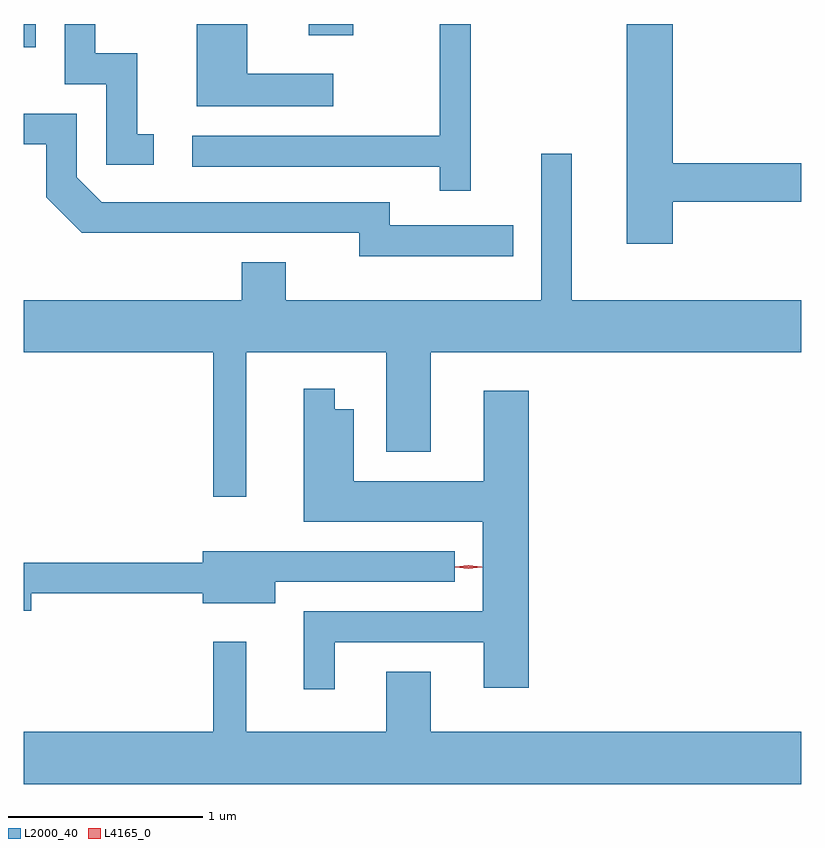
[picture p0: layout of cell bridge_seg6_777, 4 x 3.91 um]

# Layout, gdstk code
import gdstk
lib = gdstk.Library(unit=1e-6, precision=1e-09)
def R(c, l, rs):  # rectangles x0, y0, x1, y1
    for r in rs: c.add(gdstk.rectangle(r[:2], r[2:], *l))
def P(c, l, *ps):  # polygons
    for p in ps: c.add(gdstk.Polygon(p, *l))
L2000_40 = (2000, 40)
L4165_0 = (4165, 0)

bridge_seg6_777 = lib.new_cell('bridge_seg6_777')
R(bridge_seg6_777, L2000_40, [(522.955,1569.366,523.018,1569.485), (524.421,1569.426,524.649,1569.485)])
P(bridge_seg6_777, L2000_40, [(525.254,1569.485),(525.096,1569.485),(525.096,1568.909),(523.823,1568.909),(523.823,1568.751),(525.096,1568.751),(525.096,1568.628),(525.254,1568.628)],
  [(524.548,1569.229),(524.104,1569.229),(524.104,1569.485),(523.846,1569.485),(523.846,1569.061),(524.548,1569.061)],
  [(526.294,1568.571),(526.955,1568.571),(526.955,1568.769),(526.294,1568.769),(526.294,1569.485),(526.056,1569.485),(526.056,1568.356),(526.294,1568.356)],
  [(523.623,1568.919),(523.539,1568.919),(523.539,1569.334),(523.324,1569.334),(523.324,1569.485),(523.166,1569.485),(523.166,1569.176),(523.381,1569.176),(523.381,1568.761),(523.623,1568.761)],
  [(525.473,1568.449),(524.839,1568.449),(524.839,1568.569),(523.357,1568.569),(523.229,1568.697),(523.229,1569.024),(522.955,1569.024),(522.955,1568.866),(523.071,1568.866),(523.071,1568.594),(523.254,1568.411),(524.681,1568.411),(524.681,1568.291),(525.473,1568.291)],
  [(525.616,1568.818),(525.616,1568.064),(524.304,1568.064),(524.304,1568.259),(524.076,1568.259),(524.076,1568.064),(522.955,1568.064),(522.955,1567.796),(523.931,1567.796),(523.931,1567.053),(524.099,1567.053),(524.099,1567.796),(524.821,1567.796),(524.821,1567.286),(525.049,1567.286),(525.049,1567.796),(526.955,1567.796),(526.955,1568.064),(525.774,1568.064),(525.774,1568.818)],
  [(524.554,1566.306),(525.321,1566.306),(525.321,1566.071),(525.554,1566.071),(525.554,1567.599),(525.321,1567.599),(525.321,1567.134),(524.654,1567.134),(524.654,1567.504),(524.554,1567.504),(524.554,1567.608),(524.396,1567.608),(524.396,1566.926),(525.316,1566.926),(525.316,1566.464),(524.396,1566.464),(524.396,1566.063),(524.554,1566.063)],
  [(522.994,1566.556),(523.876,1566.556),(523.876,1566.506),(524.249,1566.506),(524.249,1566.616),(525.173,1566.616),(525.173,1566.774),(523.876,1566.774),(523.876,1566.714),(522.955,1566.714),(522.955,1566.466),(522.994,1566.466)],
  [(526.955,1565.844),(525.049,1565.844),(525.049,1566.154),(524.821,1566.154),(524.821,1565.844),(524.099,1565.844),(524.099,1566.308),(523.931,1566.308),(523.931,1565.844),(522.955,1565.844),(522.955,1565.576),(526.955,1565.576)])
P(bridge_seg6_777, L4165_0, [(525.243,1566.682),(525.178,1566.692),(525.177,1566.693),(525.178,1566.693),(525.244,1566.702),(525.309,1566.692),(525.31,1566.691),(525.309,1566.69)],
  [(525.243,1566.682),(525.174,1566.692),(525.173,1566.692),(525.174,1566.693),(525.243,1566.702),(525.312,1566.693),(525.313,1566.692),(525.312,1566.692)])

lib.write_gds('bridge_seg6_777.gds')
